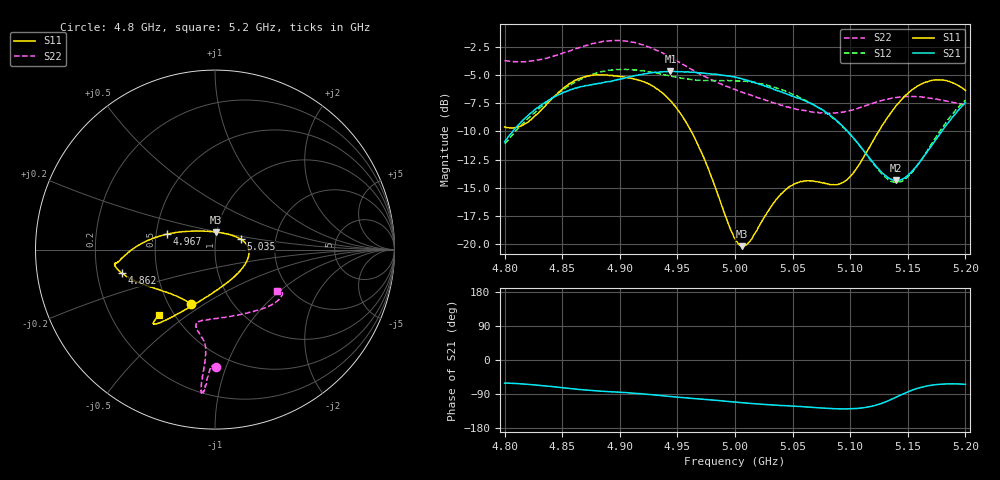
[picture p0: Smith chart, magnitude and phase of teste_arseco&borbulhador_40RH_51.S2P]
! Network Analyzer HP8722D
! Hewlett-Packard
! Data name: Linha & Wilkinson
! Saver's name: Rodrigo Anjos
! Comments: Teste da utilização de aquisição
! continua pelo VNA HP8722D
! Time and date: 15/4/2025 16:46
!  Frequency  S11  S21  S12  S22
# HZ  S  MA R 50
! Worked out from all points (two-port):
!   401 points, 4.8 GHz to 5.2 GHz, reference 50 ohm
!   highest |S21| = -4.63 dB at 4.944 GHz (marker M1); lowest = -14.4 dB at 5.14 GHz (marker M2)
!   |S21| within 3 dB of the highest: 4.832 GHz to 5.068 GHz (236.4 MHz wide, 4.77 % of centre); 5.198158 GHz to end of sweep
!   lowest |S11| = -20.2 dB at 5.006 GHz (marker M3), VSWR 1.22, Z = 49.8 + j9.77 ohm
!   |S11| at or under -10 dB: 4.962 GHz to 5.125 GHz (162.7 MHz wide, 3.23 % of centre)
!   |S22| runs from -8.4 to -1.9 dB; largest |S21 - S12| = 0.88
!   S11 on the Smith chart (normalised r, x): 4.8 GHz: 0.65, -0.44; 4.862 GHz: 0.31, -0.11; 4.967 GHz: 0.57, +0.11; 5.035 GHz: 1.33, +0.16; 5.2 GHz: 0.41, -0.39
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4.8e9  0.3314 -113.9  0.2844 -61.0  0.2785 -175.2  0.6542 -89.7
4.819e9  0.345 -133.9  0.3671 -64.0  0.3551 -173.6  0.6485 -91.2
4.862e9  0.5363 -165.8  0.4941 -77.0  0.5271 -176.6  0.7404 -93.8
4.867e9  0.5495 -167.8  0.5014 -78.5  0.5425 -177.6  0.7555 -93.8
4.9e9  0.556 -172.3  0.5403 -85.0  0.598 175.7  0.8032 -95.3
4.934e9  0.4827 -178.2  0.5814 -93.5  0.5724 171.8  0.7183 -95.7
4.944e9  0.4333 177.3  0.5865 -96.3  0.5573 171.8  0.6758 -95.4
4.967e9  0.2818 162.3  0.5777 -102.2  0.5346 173.9  0.5786 -95.1
5e9  0.1053 106.1  0.5519 -111.1  0.533 176.3  0.4856 -99.4
5.006e9  0.09747 85.6  0.5419 -112.8  0.5315 176.3  0.474 -100.8
5.013e9  0.1026 62.7  0.5301 -114.4  0.5253 176.2  0.4605 -102.4
5.035e9  0.1554 22.2  0.4842 -119.1  0.4963 175.0  0.422 -103.8
5.05e9  0.1825 6.2  0.4547 -121.7  0.4631 174.5  0.401 -100.3
5.067e9  0.1905 -12.1  0.4188 -124.9  0.4192 173.9  0.3862 -91.8
5.087e9  0.183 -44.6  0.3577 -128.5  0.3558 173.8  0.3824 -76.7
5.097e9  0.1916 -65.7  0.3196 -129.0  0.3185 174.5  0.389 -68.4
5.134e9  0.3743 -116.6  0.1953 -106.2  0.1919 -159.0  0.4424 -43.4
5.14e9  0.4124 -120.0  0.1914 -97.9  0.1877 -149.7  0.4477 -40.7
5.152e9  0.4769 -124.8  0.2062 -81.7  0.2025 -130.9  0.4525 -36.3
5.17e9  0.5325 -128.9  0.2703 -66.8  0.2749 -112.9  0.4447 -32.2
5.184e9  0.5313 -130.1  0.3413 -63.1  0.3511 -107.2  0.4319 -31.2
5.2e9  0.4816 -130.5  0.4256 -64.2  0.4366 -106.2  0.416 -33.6
